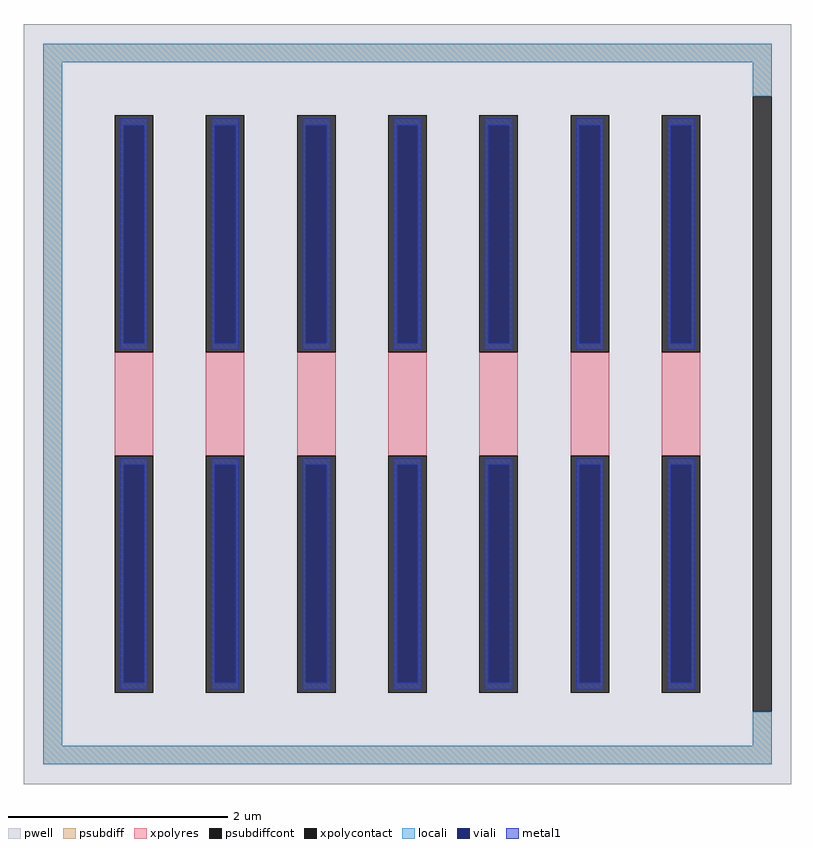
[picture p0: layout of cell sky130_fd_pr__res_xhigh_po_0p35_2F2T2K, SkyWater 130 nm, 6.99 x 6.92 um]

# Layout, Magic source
magic
tech sky130A
magscale 1 2
<< pwell >>
rect -699 -692 699 692
<< psubdiff >>
rect -663 622 663 656
rect -663 -622 -629 622
rect 629 560 663 622
rect 629 -622 663 -560
rect -663 -656 663 -622
<< psubdiffcont >>
rect 629 -560 663 560
<< xpolycontact >>
rect -533 94 -463 526
rect -533 -526 -463 -94
rect -367 94 -297 526
rect -367 -526 -297 -94
rect -201 94 -131 526
rect -201 -526 -131 -94
rect -35 94 35 526
rect -35 -526 35 -94
rect 131 94 201 526
rect 131 -526 201 -94
rect 297 94 367 526
rect 297 -526 367 -94
rect 463 94 533 526
rect 463 -526 533 -94
<< xpolyres >>
rect -533 -94 -463 94
rect -367 -94 -297 94
rect -201 -94 -131 94
rect -35 -94 35 94
rect 131 -94 201 94
rect 297 -94 367 94
rect 463 -94 533 94
<< locali >>
rect -663 622 663 656
rect -663 -622 -629 622
rect 629 560 663 622
rect 629 -622 663 -560
rect -663 -656 663 -622
<< viali >>
rect -517 111 -479 508
rect -351 111 -313 508
rect -185 111 -147 508
rect -19 111 19 508
rect 147 111 185 508
rect 313 111 351 508
rect 479 111 517 508
rect -517 -508 -479 -111
rect -351 -508 -313 -111
rect -185 -508 -147 -111
rect -19 -508 19 -111
rect 147 -508 185 -111
rect 313 -508 351 -111
rect 479 -508 517 -111
<< metal1 >>
rect -523 508 -473 520
rect -523 111 -517 508
rect -479 111 -473 508
rect -523 99 -473 111
rect -357 508 -307 520
rect -357 111 -351 508
rect -313 111 -307 508
rect -357 99 -307 111
rect -191 508 -141 520
rect -191 111 -185 508
rect -147 111 -141 508
rect -191 99 -141 111
rect -25 508 25 520
rect -25 111 -19 508
rect 19 111 25 508
rect -25 99 25 111
rect 141 508 191 520
rect 141 111 147 508
rect 185 111 191 508
rect 141 99 191 111
rect 307 508 357 520
rect 307 111 313 508
rect 351 111 357 508
rect 307 99 357 111
rect 473 508 523 520
rect 473 111 479 508
rect 517 111 523 508
rect 473 99 523 111
rect -523 -111 -473 -99
rect -523 -508 -517 -111
rect -479 -508 -473 -111
rect -523 -520 -473 -508
rect -357 -111 -307 -99
rect -357 -508 -351 -111
rect -313 -508 -307 -111
rect -357 -520 -307 -508
rect -191 -111 -141 -99
rect -191 -508 -185 -111
rect -147 -508 -141 -111
rect -191 -520 -141 -508
rect -25 -111 25 -99
rect -25 -508 -19 -111
rect 19 -508 25 -111
rect -25 -520 25 -508
rect 141 -111 191 -99
rect 141 -508 147 -111
rect 185 -508 191 -111
rect 141 -520 191 -508
rect 307 -111 357 -99
rect 307 -508 313 -111
rect 351 -508 357 -111
rect 307 -520 357 -508
rect 473 -111 523 -99
rect 473 -508 479 -111
rect 517 -508 523 -111
rect 473 -520 523 -508
<< properties >>
string FIXED_BBOX -646 -639 646 639
string gencell sky130_fd_pr__res_xhigh_po_0p35
string library sky130
string parameters w 0.350 l 1.1 m 1 nx 7 wmin 0.350 lmin 0.50 rho 2000 val 7.361k dummy 0 dw 0.0 term 188.2 sterm 0.0 caplen 0 wmax 0.350 guard 1 glc 0 grc 1 gtc 0 gbc 0 compatible {sky130_fd_pr__res_xhigh_po_0p35  sky130_fd_pr__res_xhigh_po_0p69 sky130_fd_pr__res_xhigh_po_1p41  sky130_fd_pr__res_xhigh_po_2p85 sky130_fd_pr__res_xhigh_po_5p73} snake 0 full_metal 1 n_guard 0 hv_guard 0 vias 1 viagb 0 viagt 0 viagl 0 viagr 0
<< end >>
